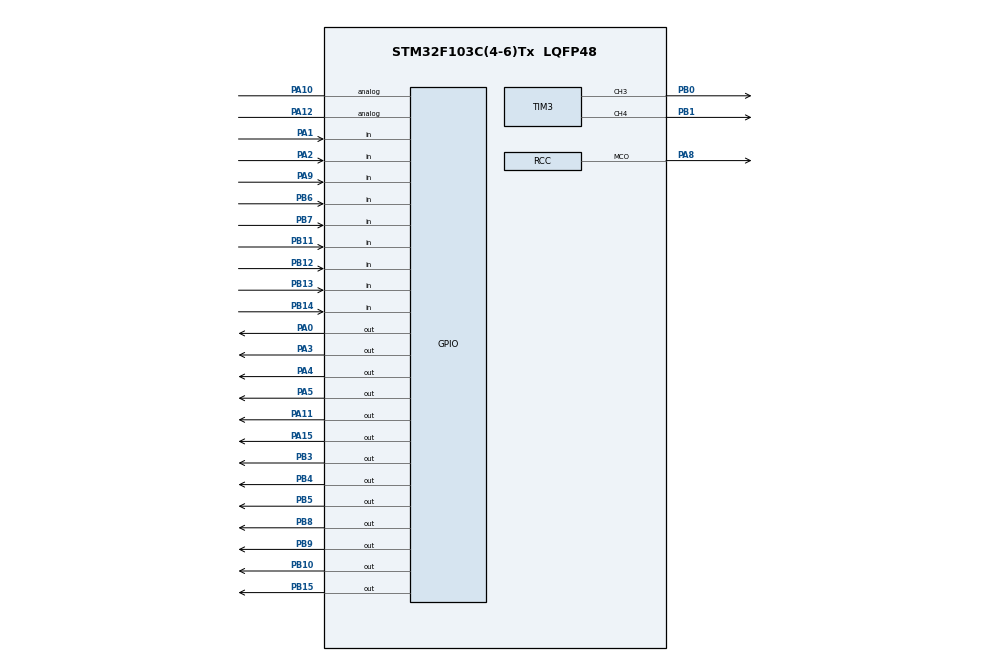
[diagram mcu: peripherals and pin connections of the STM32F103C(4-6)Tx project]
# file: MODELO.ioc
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Mcu.Family=STM32F1
Mcu.Name=STM32F103C(4-6)Tx
Mcu.Package=LQFP48
NVIC.PriorityGroup=NVIC_PRIORITYGROUP_4
NVIC.RCC_IRQn=true\:0\:0\:false\:false\:true\:true\:false\:true
NVIC.RTC_IRQn=true\:0\:0\:false\:false\:true\:true\:true\:true
PA0-WKUP.Signal=GPIO_Output
PA1.GPIO_PuPd=GPIO_PULLDOWN
PA1.Signal=GPIO_Input
PA10.Signal=GPIO_Analog
PA11.Signal=GPIO_Output
PA12.Signal=GPIO_Analog
PA15.Signal=GPIO_Output
PA2.GPIO_PuPd=GPIO_PULLDOWN
PA2.Signal=GPIO_Input
PA3.Signal=GPIO_Output
PA4.Signal=GPIO_Output
PA5.Signal=GPIO_Output
PA8.Mode=Clock-out
PA8.Signal=RCC_MCO
PA9.GPIO_PuPd=GPIO_PULLUP
PA9.Signal=GPIO_Input
PB0.Signal=S_TIM3_CH3
PB1.Signal=S_TIM3_CH4
PB10.Signal=GPIO_Output
PB11.GPIO_PuPd=GPIO_PULLUP
PB11.Signal=GPIO_Input
PB12.GPIO_PuPd=GPIO_PULLUP
PB12.Signal=GPIO_Input
PB13.GPIO_PuPd=GPIO_PULLUP
PB13.Signal=GPIO_Input
PB14.GPIO_PuPd=GPIO_PULLUP
PB14.Signal=GPIO_Input
PB15.Signal=GPIO_Output
PB3.Signal=GPIO_Output
PB4.Signal=GPIO_Output
PB5.Signal=GPIO_Output
PB6.GPIO_PuPd=GPIO_PULLDOWN
PB6.Signal=GPIO_Input
PB7.GPIO_PuPd=GPIO_PULLDOWN
PB7.Signal=GPIO_Input
PB8.Signal=GPIO_Output
PB9.Signal=GPIO_Output
PC14-OSC32_IN.Mode=LSE-External-Oscillator
PC14-OSC32_IN.Signal=RCC_OSC32_IN
PC15-OSC32_OUT.Mode=LSE-External-Oscillator
PC15-OSC32_OUT.Signal=RCC_OSC32_OUT
PD0-OSC_IN.Mode=HSE-External-Oscillator
PD0-OSC_IN.Signal=RCC_OSC_IN
PD1-OSC_OUT.Mode=HSE-External-Oscillator
PD1-OSC_OUT.Signal=RCC_OSC_OUT
ProjectManager.HeapSize=0x200
ProjectManager.StackSize=0x400
ProjectManager.TargetToolchain=STM32CubeIDE
RCC.APB1Freq_Value=8000000
RCC.APB2Freq_Value=8000000
RCC.RTCClockSelection=RCC_RTCCLKSOURCE_LSE
SH.S_TIM3_CH3.0=TIM3_CH3,PWM Generation3 CH3
SH.S_TIM3_CH4.0=TIM3_CH4,PWM Generation4 CH4
TIM3.Channel-PWM\ Generation3\ CH3=TIM_CHANNEL_3
TIM3.Channel-PWM\ Generation4\ CH4=TIM_CHANNEL_4
VP_RTC_No_RTC_Output.Mode=RTC_OUT_NO
VP_RTC_VS_RTC_Activate.Mode=RTC_Enabled
VP_RTC_VS_RTC_Calendar.Mode=RTC_Calendar
VP_SYS_VS_ND.Mode=No_Debug
board=custom

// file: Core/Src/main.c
/* USER CODE BEGIN Header */
/**
  ******************************************************************************
  * @file           : main.c
  * @brief          : Untref_IC_2022_2
  ******************************************************************************
*/
/* USER CODE END Header */
#include "main.h"

/* USER CODE BEGIN Includes */
#include <stdio.h>
/* USER CODE END Includes */

 RTC_HandleTypeDef hrtc;

TIM_HandleTypeDef htim3;

/* USER CODE BEGIN PV */
char time[12];
char date[12];
char buffer1[12];
char hora = 23;
char minuto = 59;
char segundo = 50;
char anio = 22;    		//año 2022 -> 00010110
char mes = 8;     		//mes enero-> 00000001 (1) .... dici-> 00001100 (12)
char diasem = 0;   		//1 Lun , 2 Mar......, 0 Dom
char dia = 2;      	//dia 01 -> 00000001.....31 -> 00011111
char Alarma_hora = 0;
char Alarma_min = 0;
char Alarma_seg = 0;
/* USER CODE END PV */

void SystemClock_Config(void);
static void MX_GPIO_Init(void);
static void MX_RTC_Init(void);
static void MX_TIM3_Init(void);

/* USER CODE BEGIN PFP */
void Delay_useg(uint32_t timer);
char conv_int_hex (char cih);
void lcd_init (void);
void lcd_send_cmd (char cmd);
void send_to_lcd (char data, int rs);
void lcd_send_data (char data);
void lcd_send_string (char *str);
void lcd_put_cur(int row, int col);
void lcd_clear (void);
static void set_reloj(void);
void get_time(void);
void display_time (void);
void HAL_RTC_AlarmAEventCallback(RTC_HandleTypeDef *hrtc);
/* USER CODE END PFP */

int main(void)
{

  /* MCU Configuration--------------------------------------------------------*/

  /* Reset of all peripherals, Initializes the Flash interface and the Systick. */
  HAL_Init();

  /* Configure the system clock */
  SystemClock_Config();

  /* Initialize all configured peripherals */
  MX_GPIO_Init();
  MX_RTC_Init();
  MX_TIM3_Init();

  /* USER CODE BEGIN 2 */
  #define Alarma_On    HAL_GPIO_WritePin(GPIOB, GPIO_PIN_10, GPIO_PIN_SET);
  #define Alarma_Off   HAL_GPIO_WritePin(GPIOB, GPIO_PIN_10, GPIO_PIN_RESET);
  #define Row1_On      HAL_GPIO_WritePin(GPIOB, GPIO_PIN_4, GPIO_PIN_SET);
  #define Row1_Off     HAL_GPIO_WritePin(GPIOB, GPIO_PIN_4, GPIO_PIN_RESET);
  #define Row2_On      HAL_GPIO_WritePin(GPIOA, GPIO_PIN_0, GPIO_PIN_SET);
  #define Row2_Off     HAL_GPIO_WritePin(GPIOA, GPIO_PIN_0, GPIO_PIN_RESET);
  #define Row3_On      HAL_GPIO_WritePin(GPIOB, GPIO_PIN_8, GPIO_PIN_SET);
  #define Row3_Off     HAL_GPIO_WritePin(GPIOB, GPIO_PIN_8, GPIO_PIN_RESET);
  #define Row4_On      HAL_GPIO_WritePin(GPIOB, GPIO_PIN_9, GPIO_PIN_SET);
  #define Row4_Off     HAL_GPIO_WritePin(GPIOB, GPIO_PIN_9, GPIO_PIN_RESET);
  #define Column1_On   HAL_GPIO_ReadPin(GPIOA, GPIO_PIN_1)==1
  #define Column1_Off  HAL_GPIO_ReadPin(GPIOA, GPIO_PIN_1)==0
  #define Column2_On   HAL_GPIO_ReadPin(GPIOB, GPIO_PIN_7)==1
  #define Column2_Off  HAL_GPIO_ReadPin(GPIOB, GPIO_PIN_7)==0
  #define Column3_On   HAL_GPIO_ReadPin(GPIOA, GPIO_PIN_2)==1
  #define Column3_Off  HAL_GPIO_ReadPin(GPIOA, GPIO_PIN_2)==0
  #define Column4_On   HAL_GPIO_ReadPin(GPIOB, GPIO_PIN_6)==1
  #define Column4_Off  HAL_GPIO_ReadPin(GPIOB, GPIO_PIN_6)==0
  #define Led1_On      HAL_GPIO_WritePin(GPIOB, GPIO_PIN_10, GPIO_PIN_SET);
  #define Led1_Off     HAL_GPIO_WritePin(GPIOB, GPIO_PIN_10, GPIO_PIN_RESET);
  #define Switch1_On   HAL_GPIO_ReadPin(GPIOB, GPIO_PIN_12)==0
  #define Switch1_Off  HAL_GPIO_ReadPin(GPIOB, GPIO_PIN_12)==1

  /*********** Define the LCD PINS below ****************/
  #define RS_Pin 			GPIO_PIN_15
  #define RS_GPIO_Port 		GPIOA
  //#define RW_Pin 			GPIO_PIN_2
  //#define RW_GPIO_Port 	GPIOA
  #define EN_Pin 			GPIO_PIN_5
  #define EN_GPIO_Port 		GPIOA
  #define D4_Pin 			GPIO_PIN_3
  #define D4_GPIO_Port 		GPIOB
  #define D5_Pin 			GPIO_PIN_4
  #define D5_GPIO_Port 		GPIOA
  #define D6_Pin 			GPIO_PIN_5
  #define D6_GPIO_Port 		GPIOB
  #define D7_Pin 			GPIO_PIN_3
  #define D7_GPIO_Port 		GPIOA

  /*
    ******************************************************************************
      * Display commands
      *
      * lcd_init ();
      * lcd_clear ();
      * lcd_put_cur(Row, Col);  // Position  (0, 0) --> Home position
      * lcd_send_string("HOLA MUNDO");
      * lcd_send_cmd(0x02);  	// Return Home
      * lcd_send_cmd(0x00);  	// Display Off
      * lcd_send_cmd(0x08);  	// Display On
      * lcd_send_cmd(0x0C);  	// Cursor Off  Blink Off
      * lcd_send_cmd(0x0E);  	// Cursor On   Blink Off
      * lcd_send_cmd(0x0D);  	// Cursor Off  Blink On
      * lcd_send_cmd(0x0F);  	// Cursor On   Blink On
      * lcd_send_cmd(0x06);  	// Position to Right  Display fix
      * lcd_send_cmd(0x04);  	// Position to Left   Display fix
      * lcd_send_cmd(0x07);  	// Position to Right  Cursor fix
      * lcd_send_cmd(0x05);  	// Position to Left   Cursor fix
      * lcd_send_cmd(0x10);  	// Cursor move to left
      * lcd_send_cmd(0x14);  	// Cursor move to right
      * lcd_send_cmd(0x18);  	// Display move to left
      * lcd_send_cmd(0x1C);  	// Display move to right
      ******************************************************************************
  */
  lcd_init ();
   // lcd_send_string ("FILA 1");
   // lcd_put_cur(1, 0);
   // lcd_send_string ("FILA 2");
    //HAL_Delay(500);
    //lcd_clear ();

  set_reloj();
  /* USER CODE END 2 */

  /* Infinite loop */
  /* USER CODE BEGIN WHILE */
  while (1)
  {
	char cambiaseg = segundo;
    HAL_Delay(100);
	get_time();
	if(cambiaseg != segundo){display_time();}
	if(Switch1_On){
		Led1_On;
		lcd_clear ();
		lcd_send_string("Hello there");
		while(Switch1_On);
		}
	else {Led1_Off;}
	Row1_On;
	if(Column1_On){lcd_clear ();lcd_send_string("1");while(Column1_On);}
	if(Column2_On){lcd_clear ();lcd_send_string("2");while(Column2_On);}

    /* USER CODE END WHILE */

  }
}

void SystemClock_Config(void)
{
  RCC_OscInitTypeDef RCC_OscInitStruct = {0};
  RCC_ClkInitTypeDef RCC_ClkInitStruct = {0};
  RCC_PeriphCLKInitTypeDef PeriphClkInit = {0};

  /** Initializes the RCC Oscillators according to the specified parameters
  * in the RCC_OscInitTypeDef structure.
  */
  RCC_OscInitStruct.OscillatorType = RCC_OSCILLATORTYPE_HSI|RCC_OSCILLATORTYPE_LSE;
  RCC_OscInitStruct.LSEState = RCC_LSE_ON;
  RCC_OscInitStruct.HSIState = RCC_HSI_ON;
  RCC_OscInitStruct.HSICalibrationValue = RCC_HSICALIBRATION_DEFAULT;
  RCC_OscInitStruct.PLL.PLLState = RCC_PLL_NONE;
  if (HAL_RCC_OscConfig(&RCC_OscInitStruct) != HAL_OK)
  {
    Error_Handler();
  }

  /** Initializes the CPU, AHB and APB buses clocks
  */
  RCC_ClkInitStruct.ClockType = RCC_CLOCKTYPE_HCLK|RCC_CLOCKTYPE_SYSCLK
                              |RCC_CLOCKTYPE_PCLK1|RCC_CLOCKTYPE_PCLK2;
  RCC_ClkInitStruct.SYSCLKSource = RCC_SYSCLKSOURCE_HSI;
  RCC_ClkInitStruct.AHBCLKDivider = RCC_SYSCLK_DIV1;
  RCC_ClkInitStruct.APB1CLKDivider = RCC_HCLK_DIV1;
  RCC_ClkInitStruct.APB2CLKDivider = RCC_HCLK_DIV1;

  if (HAL_RCC_ClockConfig(&RCC_ClkInitStruct, FLASH_LATENCY_0) != HAL_OK)
  {
    Error_Handler();
  }
  PeriphClkInit.PeriphClockSelection = RCC_PERIPHCLK_RTC;
  PeriphClkInit.RTCClockSelection = RCC_RTCCLKSOURCE_LSE;
  if (HAL_RCCEx_PeriphCLKConfig(&PeriphClkInit) != HAL_OK)
  {
    Error_Handler();
  }
  HAL_RCC_MCOConfig(RCC_MCO, RCC_MCO1SOURCE_SYSCLK, RCC_MCODIV_1);
}

static void MX_RTC_Init(void)
{

  RTC_TimeTypeDef sTime = {0};
  RTC_DateTypeDef DateToUpdate = {0};

  /** Initialize RTC Only
  */
  hrtc.Instance = RTC;
  hrtc.Init.AsynchPrediv = RTC_AUTO_1_SECOND;
  hrtc.Init.OutPut = RTC_OUTPUTSOURCE_NONE;
  if (HAL_RTC_Init(&hrtc) != HAL_OK)
  {
    Error_Handler();
  }

  /** Initialize RTC and set the Time and Date
  */
  sTime.Hours = 0x0;
  sTime.Minutes = 0x0;
  sTime.Seconds = 0x0;

  if (HAL_RTC_SetTime(&hrtc, &sTime, RTC_FORMAT_BCD) != HAL_OK)
  {
    Error_Handler();
  }
  //DateToUpdate.WeekDay = RTC_WEEKDAY_MONDAY;
  DateToUpdate.Month = RTC_MONTH_JANUARY;
  DateToUpdate.Date = 0x1;
  DateToUpdate.Year = 0x0;

  if (HAL_RTC_SetDate(&hrtc, &DateToUpdate, RTC_FORMAT_BCD) != HAL_OK)
  {
    Error_Handler();
  }

}

static void MX_TIM3_Init(void)
{

  TIM_MasterConfigTypeDef sMasterConfig = {0};
  TIM_OC_InitTypeDef sConfigOC = {0};

  htim3.Instance = TIM3;
  htim3.Init.Prescaler = 0;
  htim3.Init.CounterMode = TIM_COUNTERMODE_UP;
  htim3.Init.Period = 65535;
  htim3.Init.ClockDivision = TIM_CLOCKDIVISION_DIV1;
  htim3.Init.AutoReloadPreload = TIM_AUTORELOAD_PRELOAD_DISABLE;
  if (HAL_TIM_PWM_Init(&htim3) != HAL_OK)
  {
    Error_Handler();
  }
  sMasterConfig.MasterOutputTrigger = TIM_TRGO_RESET;
  sMasterConfig.MasterSlaveMode = TIM_MASTERSLAVEMODE_DISABLE;
  if (HAL_TIMEx_MasterConfigSynchronization(&htim3, &sMasterConfig) != HAL_OK)
  {
    Error_Handler();
  }
  sConfigOC.OCMode = TIM_OCMODE_PWM1;
  sConfigOC.Pulse = 0;
  sConfigOC.OCPolarity = TIM_OCPOLARITY_HIGH;
  sConfigOC.OCFastMode = TIM_OCFAST_DISABLE;
  if (HAL_TIM_PWM_ConfigChannel(&htim3, &sConfigOC, TIM_CHANNEL_3) != HAL_OK)
  {
    Error_Handler();
  }
  if (HAL_TIM_PWM_ConfigChannel(&htim3, &sConfigOC, TIM_CHANNEL_4) != HAL_OK)
  {
    Error_Handler();
  }
  HAL_TIM_MspPostInit(&htim3);

}

static void MX_GPIO_Init(void)
{
  GPIO_InitTypeDef GPIO_InitStruct = {0};

  /* GPIO Ports Clock Enable */
  __HAL_RCC_GPIOC_CLK_ENABLE();
  __HAL_RCC_GPIOD_CLK_ENABLE();
  __HAL_RCC_GPIOA_CLK_ENABLE();
  __HAL_RCC_GPIOB_CLK_ENABLE();

  /*Configure GPIO pin Output Level */
  HAL_GPIO_WritePin(GPIOA, GPIO_PIN_0|GPIO_PIN_3|GPIO_PIN_4|GPIO_PIN_5
                          |GPIO_PIN_11|GPIO_PIN_15, GPIO_PIN_RESET);

  /*Configure GPIO pin Output Level */
  HAL_GPIO_WritePin(GPIOB, GPIO_PIN_10|GPIO_PIN_15|GPIO_PIN_3|GPIO_PIN_4
                          |GPIO_PIN_5|GPIO_PIN_8|GPIO_PIN_9, GPIO_PIN_RESET);

  /*Configure GPIO pins : PA0 PA3 PA4 PA5
                           PA11 PA15 */
  GPIO_InitStruct.Pin = GPIO_PIN_0|GPIO_PIN_3|GPIO_PIN_4|GPIO_PIN_5
                          |GPIO_PIN_11|GPIO_PIN_15;
  GPIO_InitStruct.Mode = GPIO_MODE_OUTPUT_PP;
  GPIO_InitStruct.Pull = GPIO_NOPULL;
  GPIO_InitStruct.Speed = GPIO_SPEED_FREQ_LOW;
  HAL_GPIO_Init(GPIOA, &GPIO_InitStruct);

  /*Configure GPIO pins : PA1 PA2 */
  GPIO_InitStruct.Pin = GPIO_PIN_1|GPIO_PIN_2;
  GPIO_InitStruct.Mode = GPIO_MODE_INPUT;
  GPIO_InitStruct.Pull = GPIO_PULLDOWN;
  HAL_GPIO_Init(GPIOA, &GPIO_InitStruct);

  /*Configure GPIO pins : PB10 PB15 PB3 PB4
                           PB5 PB8 PB9 */
  GPIO_InitStruct.Pin = GPIO_PIN_10|GPIO_PIN_15|GPIO_PIN_3|GPIO_PIN_4
                          |GPIO_PIN_5|GPIO_PIN_8|GPIO_PIN_9;
  GPIO_InitStruct.Mode = GPIO_MODE_OUTPUT_PP;
  GPIO_InitStruct.Pull = GPIO_NOPULL;
  GPIO_InitStruct.Speed = GPIO_SPEED_FREQ_LOW;
  HAL_GPIO_Init(GPIOB, &GPIO_InitStruct);

  /*Configure GPIO pins : PB11 PB12 PB13 PB14 */
  GPIO_InitStruct.Pin = GPIO_PIN_11|GPIO_PIN_12|GPIO_PIN_13|GPIO_PIN_14;
  GPIO_InitStruct.Mode = GPIO_MODE_INPUT;
  GPIO_InitStruct.Pull = GPIO_PULLUP;
  HAL_GPIO_Init(GPIOB, &GPIO_InitStruct);

  /*Configure GPIO pin : PA8 */
  GPIO_InitStruct.Pin = GPIO_PIN_8;
  GPIO_InitStruct.Mode = GPIO_MODE_AF_PP;
  GPIO_InitStruct.Speed = GPIO_SPEED_FREQ_LOW;
  HAL_GPIO_Init(GPIOA, &GPIO_InitStruct);

  /*Configure GPIO pin : PA9 */
  GPIO_InitStruct.Pin = GPIO_PIN_9;
  GPIO_InitStruct.Mode = GPIO_MODE_INPUT;
  GPIO_InitStruct.Pull = GPIO_PULLUP;
  HAL_GPIO_Init(GPIOA, &GPIO_InitStruct);

  /*Configure GPIO pins : PA10 PA12 */
  GPIO_InitStruct.Pin = GPIO_PIN_10|GPIO_PIN_12;
  GPIO_InitStruct.Mode = GPIO_MODE_ANALOG;
  HAL_GPIO_Init(GPIOA, &GPIO_InitStruct);

  /*Configure GPIO pins : PB6 PB7 */
  GPIO_InitStruct.Pin = GPIO_PIN_6|GPIO_PIN_7;
  GPIO_InitStruct.Mode = GPIO_MODE_INPUT;
  GPIO_InitStruct.Pull = GPIO_PULLDOWN;
  HAL_GPIO_Init(GPIOB, &GPIO_InitStruct);

}

/* USER CODE BEGIN 4 */
void Delay_useg(uint32_t timer)
{
	timer = timer/1.5;
	while(timer--)
	    {
		__ASM volatile ("NOP");
	    }
}

char conv_int_hex (char cih)
{   char x = 0;
	if (cih<16){x = cih;}
	else if (cih<20){x = cih + 6;}
	else if (cih<30){x = cih + 12;}
	else if (cih<40){x = cih + 18;}
	else if (cih<50){x = cih + 24;}
	else if (cih<60){x = cih + 30;};
	return x;
}

void lcd_init (void)
{
	// 4 bit initialisation
	HAL_Delay(50);  			// wait for >40ms
	lcd_send_cmd (0x0F);		// BLINK ON
	HAL_Delay(5);  				// wait for >4.1ms
	lcd_send_cmd (0b10000010);	// 4bit mode
	HAL_Delay(5);  				// wait for >4.1ms
	lcd_send_cmd (0x01);  		// clear display
	HAL_Delay(5);  				// wait for >4.1ms
	lcd_send_cmd (0b00000010);	// Position home
	HAL_Delay(5);  				// wait for >4.1ms
	lcd_send_cmd (0b00001100);	// Cursor->off  Blinking->off
    HAL_Delay(5);  				// wait for >4.1ms
    //lcd_send_cmd (0x06); 		//Entry mode set --> I/D = 1 (increment cursor) & S = 0 (no shift)
    lcd_send_cmd (0x28);		// 4 BIT  2 LINES  5X7
    HAL_Delay(5);
}

void lcd_send_cmd (char cmd)
{
    char datatosend;

    /* send upper nibble first */
    datatosend = ((cmd>>4)&0x0f);
    send_to_lcd(datatosend,0);  // RS must be 0 while sending command

    /* send Lower Nibble */
    datatosend = ((cmd)&0x0f);
	send_to_lcd(datatosend, 0);
}

void send_to_lcd (char data, int rs)
{
	HAL_GPIO_WritePin(RS_GPIO_Port, RS_Pin, rs);  // rs = 1 for data, rs=0 for command

	/* write the data to the respective pin */
	HAL_GPIO_WritePin(D7_GPIO_Port, D7_Pin, ((data>>3)&0x01));
	HAL_GPIO_WritePin(D6_GPIO_Port, D6_Pin, ((data>>2)&0x01));
	HAL_GPIO_WritePin(D5_GPIO_Port, D5_Pin, ((data>>1)&0x01));
	HAL_GPIO_WritePin(D4_GPIO_Port, D4_Pin, ((data>>0)&0x01));

	/* Toggle EN PIN to send the data
	 * if the HCLK > 100 MHz, use the  20 us delay
	 * if the LCD still doesn't work, increase the delay to 50, 80 or 100..
	 */
	HAL_GPIO_WritePin(EN_GPIO_Port, EN_Pin, 1);
	//HAL_Delay(1);
	Delay_useg(10);
	HAL_GPIO_WritePin(EN_GPIO_Port, EN_Pin, 0);
	//HAL_Delay(1);
	Delay_useg(10);
}

void lcd_send_data (char data)
{
	char datatosend;

	/* send higher nibble */
	datatosend = ((data>>4)&0x0f);
	send_to_lcd(datatosend, 1);  // rs =1 for sending data

	/* send Lower nibble */
	datatosend = ((data)&0x0f);
	send_to_lcd(datatosend, 1);
}

void lcd_send_string (char *str)
{
	while (*str) lcd_send_data (*str++);
}

void lcd_put_cur(int row, int col)
{
	char Fil_Col = 128;
	if (col>15) {col = 15;}
	switch (row) {
		case 0: Fil_Col = 128 + col;
			break;
		case 1: Fil_Col = 192 + col;
			break;
		case 2: Fil_Col = 148 + col;
			break;
		case 3: Fil_Col = 212 + col;
			break;
		default: break;
	}
    lcd_send_cmd (Fil_Col);
}

void lcd_clear (void)
{
	lcd_send_cmd(0x01);
	HAL_Delay(2);
}

static void set_reloj(void)
{
  RTC_TimeTypeDef sTime = {0};
  RTC_DateTypeDef DateToUpdate = {0};
  RTC_AlarmTypeDef sAlarm = {0};

  hrtc.Instance = RTC;
  hrtc.Init.AsynchPrediv = RTC_AUTO_1_SECOND;
  hrtc.Init.OutPut = RTC_OUTPUTSOURCE_ALARM;
  if (HAL_RTC_Init(&hrtc) != HAL_OK)
  {
    Error_Handler();
  }

  sTime.Hours = conv_int_hex (hora);
  sTime.Minutes = conv_int_hex (minuto);
  sTime.Seconds = conv_int_hex (segundo);

  if (HAL_RTC_SetTime(&hrtc, &sTime, RTC_FORMAT_BCD) != HAL_OK)
  {
    Error_Handler();
  }
  //DateToUpdate.WeekDay = diasem;
  DateToUpdate.Month = conv_int_hex (mes);
  DateToUpdate.Date = conv_int_hex (dia);
  DateToUpdate.Year = conv_int_hex (anio);

  if (HAL_RTC_SetDate(&hrtc, &DateToUpdate, RTC_FORMAT_BCD) != HAL_OK)
  {
    Error_Handler();
  }
  // Enable the Alarm A

  sAlarm.AlarmTime.Hours = conv_int_hex (Alarma_hora);
  sAlarm.AlarmTime.Minutes = conv_int_hex (Alarma_min);
  sAlarm.AlarmTime.Seconds = conv_int_hex (Alarma_seg);
  sAlarm.Alarm = RTC_ALARM_A;
  if (HAL_RTC_SetAlarm(&hrtc, &sAlarm, RTC_FORMAT_BCD) != HAL_OK)
  {
    Error_Handler();
  }
}

void get_time(void)
{
 RTC_DateTypeDef gDate;
 RTC_TimeTypeDef gTime;
/* Get the RTC current Time */
 HAL_RTC_GetTime(&hrtc, &gTime, RTC_FORMAT_BIN);
/* Get the RTC current Date */
 HAL_RTC_GetDate(&hrtc, &gDate, RTC_FORMAT_BIN);
/* Display time Format: hh:mm:ss */
 hora = gTime.Hours;
 minuto = gTime.Minutes;
 segundo = gTime.Seconds;
 sprintf(time,"%02u:%02u:%02u      ",hora,minuto,segundo);
/* Display date Format: dd-mm-yy */
 diasem = gDate.WeekDay;
 dia = gDate.Date;
 mes = gDate.Month;
 anio = gDate.Year;
 sprintf(date,"%02u/%02u/%02u",dia,mes,anio);
}

void display_time (void)
{
	lcd_put_cur(0, 0);
	switch (diasem) {
		case 0: {lcd_send_string("Domingo ");}	break;
		case 1: {lcd_send_string("Lunes   ");}	break;
		case 2: {lcd_send_string("Martes  ");}	break;
		case 3: {lcd_send_string("Miercol ");}	break;
		case 4: {lcd_send_string("Jueves  ");}	break;
		case 5: {lcd_send_string("Viernes ");}	break;
		case 6: {lcd_send_string("Sabado  ");}	break;
	}
 lcd_put_cur(0, 8);  			// Position  (Fila,Columna)
 lcd_send_string (date);
 lcd_put_cur(1, 0);  			// Position  (Fila,Columna)
 lcd_send_string (time);
}

void HAL_RTC_AlarmAEventCallback(RTC_HandleTypeDef *hrtc)
{
	Alarma_On; // turn on the LED
}

/* USER CODE END 4 */

void Error_Handler(void)
{
  __disable_irq();
  while (1)
  {
  }
}
